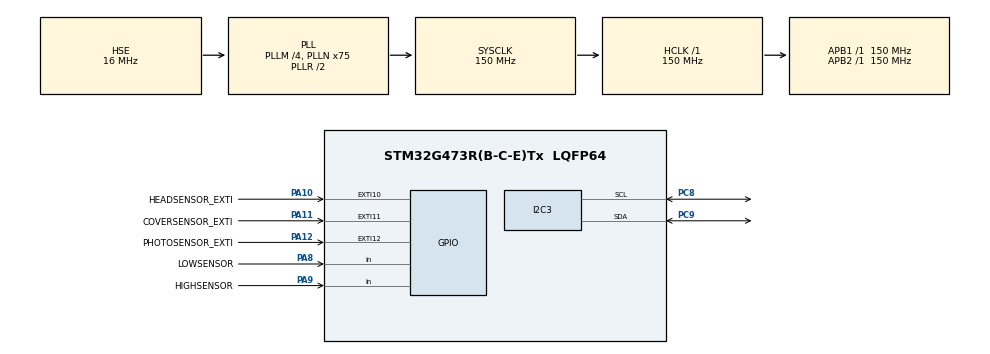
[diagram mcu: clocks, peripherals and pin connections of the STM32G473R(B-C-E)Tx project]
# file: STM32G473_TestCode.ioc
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I2C3.Timing=0x20C0EDFF
Mcu.Family=STM32G4
Mcu.Name=STM32G473R(B-C-E)Tx
Mcu.Package=LQFP64
NVIC.EXTI15_10_IRQn=true\:0\:0\:false\:false\:true\:true\:true\:true
NVIC.PriorityGroup=NVIC_PRIORITYGROUP_4
NVIC.RCC_IRQn=true\:0\:0\:false\:false\:true\:true\:false\:true
NVIC.TIM2_IRQn=true\:0\:0\:false\:false\:true\:true\:true\:true
NVIC.TIM3_IRQn=true\:0\:0\:false\:false\:true\:true\:true\:true
NVIC.TIM4_IRQn=true\:0\:0\:false\:false\:true\:true\:true\:true
NVIC.TIM5_IRQn=true\:0\:0\:false\:false\:true\:true\:true\:true
PA10.GPIO_Label=HEADSENSOR_EXTI
PA10.GPIO_PuPd=GPIO_PULLDOWN
PA10.Signal=GPXTI10
PA11.GPIO_Label=COVERSENSOR_EXTI
PA11.GPIO_PuPd=GPIO_PULLDOWN
PA11.Signal=GPXTI11
PA12.GPIO_Label=PHOTOSENSOR_EXTI
PA12.Signal=GPXTI12
PA13.Mode=Serial_Wire
PA13.Signal=SYS_JTMS-SWDIO
PA14.Mode=Serial_Wire
PA14.Signal=SYS_JTCK-SWCLK
PA8.GPIO_Label=LOWSENSOR
PA8.Signal=GPIO_Input
PA9.GPIO_Label=HIGHSENSOR
PA9.Signal=GPIO_Input
PC8.Mode=I2C
PC8.Signal=I2C3_SCL
PC9.Mode=I2C
PC9.Signal=I2C3_SDA
PF0-OSC_IN.Mode=HSE-External-Oscillator
PF0-OSC_IN.Signal=RCC_OSC_IN
PF1-OSC_OUT.Mode=HSE-External-Oscillator
PF1-OSC_OUT.Signal=RCC_OSC_OUT
ProjectManager.HeapSize=0x200
ProjectManager.StackSize=0x400
ProjectManager.TargetToolchain=STM32CubeIDE
RCC.ADC12Freq_Value=150000000
RCC.ADC345Freq_Value=150000000
RCC.AHBFreq_Value=150000000
RCC.APB1Freq_Value=150000000
RCC.APB1TimFreq_Value=150000000
RCC.APB2Freq_Value=150000000
RCC.APB2TimFreq_Value=150000000
RCC.CortexFreq_Value=150000000
RCC.EXTERNAL_CLOCK_VALUE=12288000
RCC.HCLKFreq_Value=150000000
RCC.HSE_VALUE=16000000
RCC.HSI48_VALUE=48000000
RCC.HSI_VALUE=16000000
RCC.PLLM=RCC_PLLM_DIV4
RCC.PLLN=75
RCC.PLLSourceVirtual=RCC_PLLSOURCE_HSE
RCC.SYSCLKFreq_VALUE=150000000
RCC.SYSCLKSource=RCC_SYSCLKSOURCE_PLLCLK
RCC.USBFreq_Value=150000000
RCC.VCOOutputFreq_Value=300000000
RTC.AsynchPrediv=127
RTC.Format=RTC_FORMAT_BIN
RTC.Hours=2
RTC.Minutes=20
RTC.SynchPrediv=255
TIM2.AutoReloadPreload=TIM_AUTORELOAD_PRELOAD_ENABLE
TIM2.PeriodNoDither=65535
TIM2.Prescaler=114
TIM3.AutoReloadPreload=TIM_AUTORELOAD_PRELOAD_ENABLE
TIM3.Prescaler=114
TIM4.AutoReloadPreload=TIM_AUTORELOAD_PRELOAD_ENABLE
TIM4.PeriodNoDither=65535
TIM4.Prescaler=229
TIM5.AutoReloadPreload=TIM_AUTORELOAD_PRELOAD_ENABLE
TIM5.PeriodNoDither=65535
TIM5.Prescaler=343
VP_RTC_VS_RTC_Activate.Mode=RTC_Enabled
VP_RTC_VS_RTC_Calendar.Mode=RTC_Calendar
VP_TIM2_VS_ClockSourceINT.Mode=Internal
VP_TIM3_VS_ClockSourceINT.Mode=Internal
VP_TIM4_VS_ClockSourceINT.Mode=Internal
VP_TIM5_VS_ClockSourceINT.Mode=Internal
board=custom

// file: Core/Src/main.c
/* USER CODE BEGIN Header */
/**
 ******************************************************************************
 * @file           : main.c
 * @brief          : Main program body
 ******************************************************************************
 * @attention
 *
 * Copyright (c) 2023 STMicroelectronics.
 * All rights reserved.
 *
 * This software is licensed under terms that can be found in the LICENSE file
 * in the root directory of this software component.
 * If no LICENSE file comes with this software, it is provided AS-IS.
 *
 ******************************************************************************
 */
/* USER CODE END Header */
#include "main.h"

/* USER CODE BEGIN Includes */
#include <stdio.h>
#include "string.h"

/* USER CODE END Includes */

/* USER CODE BEGIN PTD */
#include "INA219_1.h"
#include "INA219_2.h"

float ina219_currentDivider_mA;
float ina219_powerMultiplier_mW;
uint16_t ina219_calibrationValue;
float ina219_currentDivider_mA_2;
float ina219_powerMultiplier_mW_2;
uint16_t ina219_calibrationValue_2;

INA219_t ina219;
INA219_t_2 ina219_2;

float current,current2,current3;

int headEXTI=0;
int coverEXTI=0;
uint32_t  currentTimeInSeconds=0;
uint32_t  firstTimeInSeconds=0;

float tim2 = 0;
float tim3 = 0;
float tim4 = 0;
float tim5 = 0;
float tim2second = 0;
float tim3second = 0;
float tim4second = 0;
float tim5second = 0;

int a=0;
int b=0;
/* USER CODE END PTD */

I2C_HandleTypeDef hi2c3;

RTC_HandleTypeDef hrtc;

TIM_HandleTypeDef htim2;
TIM_HandleTypeDef htim3;
TIM_HandleTypeDef htim4;
TIM_HandleTypeDef htim5;

/* USER CODE BEGIN PV */
RTC_TimeTypeDef sTime;

/* USER CODE END PV */

void SystemClock_Config(void);
static void MX_GPIO_Init(void);
static void MX_RTC_Init(void);
static void MX_TIM4_Init(void);
static void MX_TIM2_Init(void);
static void MX_TIM5_Init(void);
static void MX_TIM3_Init(void);
static void MX_I2C3_Init(void);

/* USER CODE BEGIN 0 */

void HAL_GPIO_EXTI_Callback(uint16_t GPIO_Pin){

	switch(GPIO_Pin){
	case GPIO_PIN_10 :
		//	HAL_GPIO_WritePin(GPIOC, led2_Pin, GPIO_PIN_SET);
		//	HAL_GPIO_WritePin(GPIOC, led1_Pin, GPIO_PIN_RESET);
		break;

	case GPIO_PIN_11 :
		//	HAL_GPIO_WritePin(GPIOC, led1_Pin, GPIO_PIN_SET);
		//	HAL_GPIO_WritePin(GPIOC, led2_Pin, GPIO_PIN_RESET);
		break;
	}
}

void HAL_TIM_PeriodElapsedCallback(TIM_HandleTypeDef *htim) {
	if (htim == &htim2) {
		tim2++;
		if(tim2==20){
			tim2second++;
			tim2=0;
		}
	}
	if (htim == &htim3) {
		tim3++;
		if(tim3==20){
			tim3second++;
			tim3=0;
		}
	}
	if (htim == &htim4) {
		tim4++;
		if(tim4==10){
			tim4second++;
			tim4=0;
		}
	}

	if (htim == &htim5) {
		tim5++;
		if(tim5==6){
			tim5second++;
			tim5=0;
		}
	}
}

/* USER CODE END 0 */

int main(void)
{

	/* MCU Configuration--------------------------------------------------------*/

	/* Reset of all peripherals, Initializes the Flash interface and the Systick. */
	HAL_Init();

	/* Configure the system clock */
	SystemClock_Config();

	/* Initialize all configured peripherals */
	MX_GPIO_Init();
	MX_RTC_Init();
	MX_TIM4_Init();
	MX_TIM2_Init();
	MX_TIM5_Init();
	MX_TIM3_Init();
	MX_I2C3_Init();
	/* USER CODE BEGIN 2 */
	HAL_TIM_Base_Start_IT(&htim2);
	HAL_TIM_Base_Start_IT(&htim3);
	HAL_TIM_Base_Start_IT(&htim4);
	HAL_TIM_Base_Start_IT(&htim5);

	INA219_Init(&ina219, &hi2c3, INA219_ADDRESS);
	INA219_Init_2(&ina219_2, &hi2c3, INA219_ADDRESS_2);

	/* USER CODE END 2 */

	/* Infinite loop */
	while (1)
	{

		/* USER CODE BEGIN 3 */
		/*
		if (HAL_GPIO_ReadPin(GPIOA,COVERSENSOR_EXTI_Pin) == 1 ) {
			headEXTI=1;
			coverEXTI=0;
		}
		else if(HAL_GPIO_ReadPin(GPIOA,HEADSENSOR_EXTI_Pin) == 1 ){
			coverEXTI=1;
			headEXTI=0;
		}
		 */
	//	current = INA219_ReadCurrent_1(&ina219);
		current2 = INA219_ReadCurrent_2(&ina219_2);

		current = INA219_ReadCurrent(&ina219); // INA219_1.h

	}
	/* USER CODE END 3 */
}

void SystemClock_Config(void)
{
	RCC_OscInitTypeDef RCC_OscInitStruct = {0};
	RCC_ClkInitTypeDef RCC_ClkInitStruct = {0};

	/** Configure the main internal regulator output voltage
	 */
	HAL_PWREx_ControlVoltageScaling(PWR_REGULATOR_VOLTAGE_SCALE1);

	/** Initializes the RCC Oscillators according to the specified parameters
	 * in the RCC_OscInitTypeDef structure.
	 */
	RCC_OscInitStruct.OscillatorType = RCC_OSCILLATORTYPE_LSI|RCC_OSCILLATORTYPE_HSE;
	RCC_OscInitStruct.HSEState = RCC_HSE_ON;
	RCC_OscInitStruct.LSIState = RCC_LSI_ON;
	RCC_OscInitStruct.PLL.PLLState = RCC_PLL_ON;
	RCC_OscInitStruct.PLL.PLLSource = RCC_PLLSOURCE_HSE;
	RCC_OscInitStruct.PLL.PLLM = RCC_PLLM_DIV4;
	RCC_OscInitStruct.PLL.PLLN = 75;
	RCC_OscInitStruct.PLL.PLLP = RCC_PLLP_DIV2;
	RCC_OscInitStruct.PLL.PLLQ = RCC_PLLQ_DIV2;
	RCC_OscInitStruct.PLL.PLLR = RCC_PLLR_DIV2;
	if (HAL_RCC_OscConfig(&RCC_OscInitStruct) != HAL_OK)
	{
		Error_Handler();
	}

	/** Initializes the CPU, AHB and APB buses clocks
	 */
	RCC_ClkInitStruct.ClockType = RCC_CLOCKTYPE_HCLK|RCC_CLOCKTYPE_SYSCLK
			|RCC_CLOCKTYPE_PCLK1|RCC_CLOCKTYPE_PCLK2;
	RCC_ClkInitStruct.SYSCLKSource = RCC_SYSCLKSOURCE_PLLCLK;
	RCC_ClkInitStruct.AHBCLKDivider = RCC_SYSCLK_DIV1;
	RCC_ClkInitStruct.APB1CLKDivider = RCC_HCLK_DIV1;
	RCC_ClkInitStruct.APB2CLKDivider = RCC_HCLK_DIV1;

	if (HAL_RCC_ClockConfig(&RCC_ClkInitStruct, FLASH_LATENCY_4) != HAL_OK)
	{
		Error_Handler();
	}
}

static void MX_I2C3_Init(void)
{

	hi2c3.Instance = I2C3;
	hi2c3.Init.Timing = 0x20C0EDFF;
	hi2c3.Init.OwnAddress1 = 0;
	hi2c3.Init.AddressingMode = I2C_ADDRESSINGMODE_7BIT;
	hi2c3.Init.DualAddressMode = I2C_DUALADDRESS_DISABLE;
	hi2c3.Init.OwnAddress2 = 0;
	hi2c3.Init.OwnAddress2Masks = I2C_OA2_NOMASK;
	hi2c3.Init.GeneralCallMode = I2C_GENERALCALL_DISABLE;
	hi2c3.Init.NoStretchMode = I2C_NOSTRETCH_DISABLE;
	if (HAL_I2C_Init(&hi2c3) != HAL_OK)
	{
		Error_Handler();
	}

	/** Configure Analogue filter
	 */
	if (HAL_I2CEx_ConfigAnalogFilter(&hi2c3, I2C_ANALOGFILTER_ENABLE) != HAL_OK)
	{
		Error_Handler();
	}

	/** Configure Digital filter
	 */
	if (HAL_I2CEx_ConfigDigitalFilter(&hi2c3, 0) != HAL_OK)
	{
		Error_Handler();
	}

}

static void MX_RTC_Init(void)
{

	RTC_TimeTypeDef sTime = {0};
	RTC_DateTypeDef sDate = {0};

	/** Initialize RTC Only
	 */
	hrtc.Instance = RTC;
	hrtc.Init.HourFormat = RTC_HOURFORMAT_24;
	hrtc.Init.AsynchPrediv = 127;
	hrtc.Init.SynchPrediv = 255;
	hrtc.Init.OutPut = RTC_OUTPUT_DISABLE;
	hrtc.Init.OutPutRemap = RTC_OUTPUT_REMAP_NONE;
	hrtc.Init.OutPutPolarity = RTC_OUTPUT_POLARITY_HIGH;
	hrtc.Init.OutPutType = RTC_OUTPUT_TYPE_OPENDRAIN;
	hrtc.Init.OutPutPullUp = RTC_OUTPUT_PULLUP_NONE;
	if (HAL_RTC_Init(&hrtc) != HAL_OK)
	{
		Error_Handler();
	}

	/** Initialize RTC and set the Time and Date
	 */
	sTime.Hours = 2;
	sTime.Minutes = 20;
	sTime.Seconds = 0;
	sTime.SubSeconds = 0;
	sTime.DayLightSaving = RTC_DAYLIGHTSAVING_NONE;
	sTime.StoreOperation = RTC_STOREOPERATION_RESET;
	if (HAL_RTC_SetTime(&hrtc, &sTime, RTC_FORMAT_BIN) != HAL_OK)
	{
		Error_Handler();
	}
	sDate.WeekDay = RTC_WEEKDAY_MONDAY;
	sDate.Month = RTC_MONTH_JANUARY;
	sDate.Date = 1;
	sDate.Year = 0;

	if (HAL_RTC_SetDate(&hrtc, &sDate, RTC_FORMAT_BIN) != HAL_OK)
	{
		Error_Handler();
	}

}

static void MX_TIM2_Init(void)
{

	TIM_ClockConfigTypeDef sClockSourceConfig = {0};
	TIM_MasterConfigTypeDef sMasterConfig = {0};

	htim2.Instance = TIM2;
	htim2.Init.Prescaler = 114;
	htim2.Init.CounterMode = TIM_COUNTERMODE_UP;
	htim2.Init.Period = 65535;
	htim2.Init.ClockDivision = TIM_CLOCKDIVISION_DIV1;
	htim2.Init.AutoReloadPreload = TIM_AUTORELOAD_PRELOAD_ENABLE;
	if (HAL_TIM_Base_Init(&htim2) != HAL_OK)
	{
		Error_Handler();
	}
	sClockSourceConfig.ClockSource = TIM_CLOCKSOURCE_INTERNAL;
	if (HAL_TIM_ConfigClockSource(&htim2, &sClockSourceConfig) != HAL_OK)
	{
		Error_Handler();
	}
	sMasterConfig.MasterOutputTrigger = TIM_TRGO_RESET;
	sMasterConfig.MasterSlaveMode = TIM_MASTERSLAVEMODE_DISABLE;
	if (HAL_TIMEx_MasterConfigSynchronization(&htim2, &sMasterConfig) != HAL_OK)
	{
		Error_Handler();
	}

}

static void MX_TIM3_Init(void)
{

	TIM_ClockConfigTypeDef sClockSourceConfig = {0};
	TIM_MasterConfigTypeDef sMasterConfig = {0};

	htim3.Instance = TIM3;
	htim3.Init.Prescaler = 114;
	htim3.Init.CounterMode = TIM_COUNTERMODE_UP;
	htim3.Init.Period = 65535;
	htim3.Init.ClockDivision = TIM_CLOCKDIVISION_DIV1;
	htim3.Init.AutoReloadPreload = TIM_AUTORELOAD_PRELOAD_ENABLE;
	if (HAL_TIM_Base_Init(&htim3) != HAL_OK)
	{
		Error_Handler();
	}
	sClockSourceConfig.ClockSource = TIM_CLOCKSOURCE_INTERNAL;
	if (HAL_TIM_ConfigClockSource(&htim3, &sClockSourceConfig) != HAL_OK)
	{
		Error_Handler();
	}
	sMasterConfig.MasterOutputTrigger = TIM_TRGO_RESET;
	sMasterConfig.MasterSlaveMode = TIM_MASTERSLAVEMODE_DISABLE;
	if (HAL_TIMEx_MasterConfigSynchronization(&htim3, &sMasterConfig) != HAL_OK)
	{
		Error_Handler();
	}

}

static void MX_TIM4_Init(void)
{

	TIM_ClockConfigTypeDef sClockSourceConfig = {0};
	TIM_MasterConfigTypeDef sMasterConfig = {0};

	htim4.Instance = TIM4;
	htim4.Init.Prescaler = 229;
	htim4.Init.CounterMode = TIM_COUNTERMODE_UP;
	htim4.Init.Period = 65535;
	htim4.Init.ClockDivision = TIM_CLOCKDIVISION_DIV1;
	htim4.Init.AutoReloadPreload = TIM_AUTORELOAD_PRELOAD_ENABLE;
	if (HAL_TIM_Base_Init(&htim4) != HAL_OK)
	{
		Error_Handler();
	}
	sClockSourceConfig.ClockSource = TIM_CLOCKSOURCE_INTERNAL;
	if (HAL_TIM_ConfigClockSource(&htim4, &sClockSourceConfig) != HAL_OK)
	{
		Error_Handler();
	}
	sMasterConfig.MasterOutputTrigger = TIM_TRGO_RESET;
	sMasterConfig.MasterSlaveMode = TIM_MASTERSLAVEMODE_DISABLE;
	if (HAL_TIMEx_MasterConfigSynchronization(&htim4, &sMasterConfig) != HAL_OK)
	{
		Error_Handler();
	}

}

static void MX_TIM5_Init(void)
{

	TIM_ClockConfigTypeDef sClockSourceConfig = {0};
	TIM_MasterConfigTypeDef sMasterConfig = {0};

	htim5.Instance = TIM5;
	htim5.Init.Prescaler = 343;
	htim5.Init.CounterMode = TIM_COUNTERMODE_UP;
	htim5.Init.Period = 65535;
	htim5.Init.ClockDivision = TIM_CLOCKDIVISION_DIV1;
	htim5.Init.AutoReloadPreload = TIM_AUTORELOAD_PRELOAD_ENABLE;
	if (HAL_TIM_Base_Init(&htim5) != HAL_OK)
	{
		Error_Handler();
	}
	sClockSourceConfig.ClockSource = TIM_CLOCKSOURCE_INTERNAL;
	if (HAL_TIM_ConfigClockSource(&htim5, &sClockSourceConfig) != HAL_OK)
	{
		Error_Handler();
	}
	sMasterConfig.MasterOutputTrigger = TIM_TRGO_RESET;
	sMasterConfig.MasterSlaveMode = TIM_MASTERSLAVEMODE_DISABLE;
	if (HAL_TIMEx_MasterConfigSynchronization(&htim5, &sMasterConfig) != HAL_OK)
	{
		Error_Handler();
	}

}

static void MX_GPIO_Init(void)
{
	GPIO_InitTypeDef GPIO_InitStruct = {0};

	/* GPIO Ports Clock Enable */
	__HAL_RCC_GPIOF_CLK_ENABLE();
	__HAL_RCC_GPIOC_CLK_ENABLE();
	__HAL_RCC_GPIOA_CLK_ENABLE();

	/*Configure GPIO pins : LOWSENSOR_Pin HIGHSENSOR_Pin */
	GPIO_InitStruct.Pin = LOWSENSOR_Pin|HIGHSENSOR_Pin;
	GPIO_InitStruct.Mode = GPIO_MODE_INPUT;
	GPIO_InitStruct.Pull = GPIO_NOPULL;
	HAL_GPIO_Init(GPIOA, &GPIO_InitStruct);

	/*Configure GPIO pins : HEADSENSOR_EXTI_Pin COVERSENSOR_EXTI_Pin */
	GPIO_InitStruct.Pin = HEADSENSOR_EXTI_Pin|COVERSENSOR_EXTI_Pin;
	GPIO_InitStruct.Mode = GPIO_MODE_IT_RISING;
	GPIO_InitStruct.Pull = GPIO_PULLDOWN;
	HAL_GPIO_Init(GPIOA, &GPIO_InitStruct);

	/*Configure GPIO pin : PHOTOSENSOR_EXTI_Pin */
	GPIO_InitStruct.Pin = PHOTOSENSOR_EXTI_Pin;
	GPIO_InitStruct.Mode = GPIO_MODE_IT_RISING;
	GPIO_InitStruct.Pull = GPIO_NOPULL;
	HAL_GPIO_Init(PHOTOSENSOR_EXTI_GPIO_Port, &GPIO_InitStruct);

	/* EXTI interrupt init*/
	HAL_NVIC_SetPriority(EXTI15_10_IRQn, 0, 0);
	HAL_NVIC_EnableIRQ(EXTI15_10_IRQn);

}

void Error_Handler(void)
{
	__disable_irq();
	while (1)
	{
	}
}
